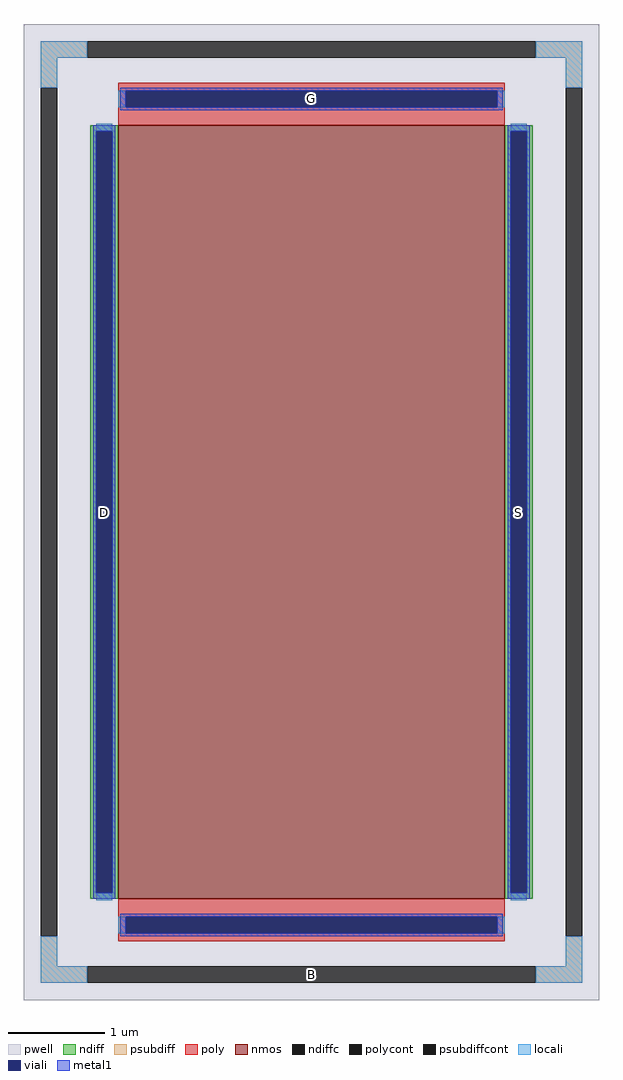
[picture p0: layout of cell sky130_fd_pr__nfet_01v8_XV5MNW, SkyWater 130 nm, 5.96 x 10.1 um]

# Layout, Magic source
magic
tech sky130A
magscale 1 2
<< pwell >>
rect -596 -1010 596 1010
<< nmos >>
rect -400 -800 400 800
<< ndiff >>
rect -458 788 -400 800
rect -458 -788 -446 788
rect -412 -788 -400 788
rect -458 -800 -400 -788
rect 400 788 458 800
rect 400 -788 412 788
rect 446 -788 458 788
rect 400 -800 458 -788
<< ndiffc >>
rect -446 -788 -412 788
rect 412 -788 446 788
<< psubdiff >>
rect -560 940 -464 974
rect 464 940 560 974
rect -560 878 -526 940
rect 526 878 560 940
rect -560 -940 -526 -878
rect 526 -940 560 -878
rect -560 -974 -464 -940
rect 464 -974 560 -940
<< psubdiffcont >>
rect -464 940 464 974
rect -560 -878 -526 878
rect 526 -878 560 878
rect -464 -974 464 -940
<< poly >>
rect -400 872 400 888
rect -400 838 -384 872
rect 384 838 400 872
rect -400 800 400 838
rect -400 -838 400 -800
rect -400 -872 -384 -838
rect 384 -872 400 -838
rect -400 -888 400 -872
<< polycont >>
rect -384 838 384 872
rect -384 -872 384 -838
<< locali >>
rect -560 940 -464 974
rect 464 940 560 974
rect -560 878 -526 940
rect 526 878 560 940
rect -400 838 -384 872
rect 384 838 400 872
rect -446 788 -412 804
rect -446 -804 -412 -788
rect 412 788 446 804
rect 412 -804 446 -788
rect -400 -872 -384 -838
rect 384 -872 400 -838
rect -560 -940 -526 -878
rect 526 -940 560 -878
rect -560 -974 -464 -940
rect 464 -974 560 -940
<< viali >>
rect -384 838 384 872
rect -446 -788 -412 788
rect 412 -788 446 788
rect -384 -872 384 -838
<< metal1 >>
rect -396 872 396 878
rect -396 838 -384 872
rect 384 838 396 872
rect -396 832 396 838
rect -452 788 -406 800
rect -452 -788 -446 788
rect -412 -788 -406 788
rect -452 -800 -406 -788
rect 406 788 452 800
rect 406 -788 412 788
rect 446 -788 452 788
rect 406 -800 452 -788
rect -396 -838 396 -832
rect -396 -872 -384 -838
rect 384 -872 396 -838
rect -396 -878 396 -872
<< labels >>
rlabel psubdiffcont 0 -957 0 -957 0 B
port 5 nsew
rlabel ndiffc -429 0 -429 0 0 D
port 6 nsew
rlabel ndiffc 429 0 429 0 0 S
port 7 nsew
rlabel polycont 0 855 0 855 0 G
port 8 nsew
<< properties >>
string FIXED_BBOX -543 -957 543 957
string gencell sky130_fd_pr__nfet_01v8
string library sky130
string parameters w 8.0 l 4.0 m 1 nf 1 diffcov 100 polycov 100 guard 1 glc 1 grc 1 gtc 1 gbc 1 tbcov 100 rlcov 100 topc 1 botc 1 poverlap 0 doverlap 1 lmin 0.15 wmin 0.42 class mosfet compatible {sky130_fd_pr__nfet_01v8 sky130_fd_pr__nfet_01v8_lvt  sky130_fd_bs_flash__special_sonosfet_star  sky130_fd_pr__nfet_g5v0d10v5 sky130_fd_pr__nfet_05v0_nvt  sky130_fd_pr__nfet_03v3_nvt} full_metal 1 conn_gates 0 viasrc 100 viadrn 100 viagate 100 viagb 0 viagr 0 viagl 0 viagt 0 doports 1
<< end >>
